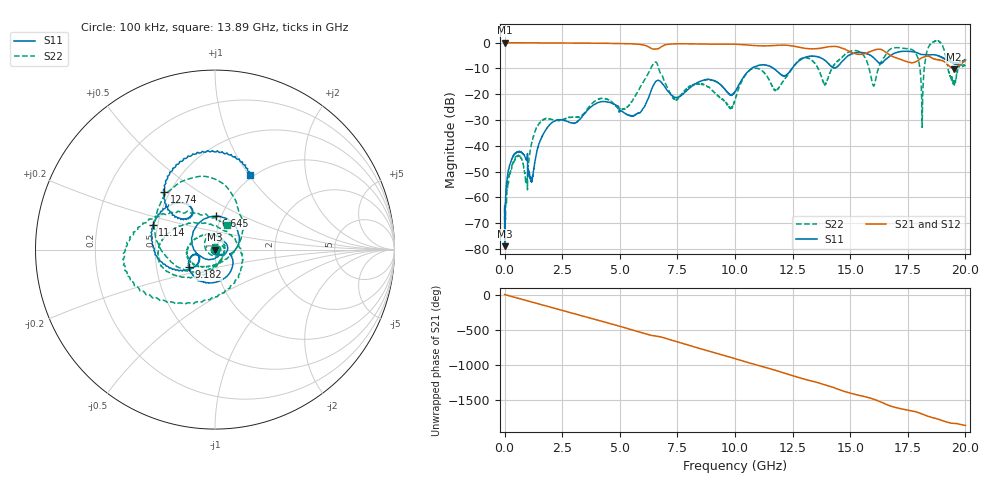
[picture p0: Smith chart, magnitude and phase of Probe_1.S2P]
# Hz S RI R 50.00
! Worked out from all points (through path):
!   5000 points, 100 kHz to 20 GHz, reference 50 ohm
!   highest |S21| = 0.00 dB at 4.101 MHz (marker M1); lowest = -10.3 dB at 19.49 GHz (marker M2)
!   group delay of S21, straight-line fit = 262 ps
!   lowest |S11| = -78.9 dB at 4.101 MHz (marker M3), VSWR 1.00, Z = 50 + j0.0101 ohm
!   |S11| at or under -10 dB: start of sweep to 10.72 GHz; 11.67 GHz to 12.47 GHz (803.8 MHz wide, 6.66 % of centre)
!   |S22| runs from -73.9 to 0.9 dB; largest |S21 - S12| = 0
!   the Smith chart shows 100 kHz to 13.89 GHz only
!   S11 on the Smith chart (normalised r, x): 100 kHz: 1.00, -0.00; 6.645 GHz: 0.94, +0.36; 9.182 GHz: 0.73, -0.15; 11.14 GHz: 0.47, +0.15; 12.74 GHz: 0.47, +0.37; 13.89 GHz: 0.97, +1.02
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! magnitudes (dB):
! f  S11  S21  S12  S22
! 100 kHz  -63.5  0.0  0.0  -64.1
! 4.101 MHz  -78.9  0.0  0.0  -71.6
! 388.2 MHz  -43.7  0.0  0.0  -46.2
! 940.3 MHz  -45.3  0.0  0.0  -54.2
! 1.552 GHz  -37.9  -0.1  -0.1  -30.7
! 3.337 GHz  -29.0  -0.2  -0.2  -28.3
! 6.645 GHz  -14.6  -2.4  -2.4  -8.8
! 6.669 GHz  -14.6  -2.4  -2.4  -9.6
! 9.182 GHz  -15.1  -0.6  -0.6  -19.9
! 10 GHz  -18.8  -0.6  -0.6  -22.0
! 11.14 GHz  -8.6  -1.2  -1.2  -10.7
! 12.74 GHz  -7.4  -1.7  -1.7  -7.1
! 13.33 GHz  -5.3  -2.4  -2.4  -6.8
! 13.89 GHz  -6.8  -1.8  -1.8  -16.4
! 15.17 GHz  -4.1  -4.1  -4.1  -3.0
! 16.02 GHz  -5.8  -2.9  -2.9  -16.8
! 16.67 GHz  -5.5  -4.4  -4.4  -3.0
! 17.77 GHz  -3.6  -7.6  -7.6  -3.3
! 18.12 GHz  -4.6  -5.8  -5.8  -32.9
! 18.84 GHz  -5.2  -6.6  -6.6  0.7
! 19.49 GHz  -7.9  -10.3  -10.3  -14.3
! 20 GHz  -6.7  -6.8  -6.8  -9.0
